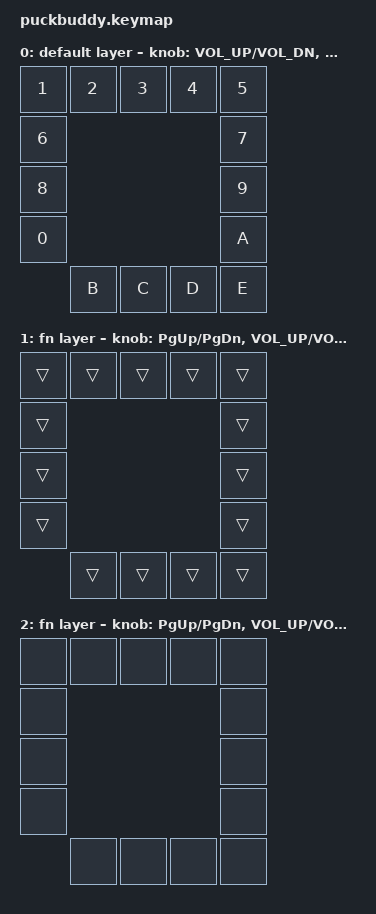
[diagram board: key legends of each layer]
/*
 * Copyright (c) 2022 The ZMK Contributors
 *
 * SPDX-License-Identifier: MIT
 */

#include <behaviors.dtsi>
#include <dt-bindings/zmk/keys.h>
#include <dt-bindings/zmk/bt.h>
#include <dt-bindings/zmk/rgb.h>
#include <dt-bindings/zmk/ext_power.h>


#define TIMEOUT 300

&encoder_1 {
    status = "okay";
};

&encoder_2 {
    status = "okay";
};

/ {
    combos {
        compatible = "zmk,combos";
        combo_btclr {
            timeout-ms = <TIMEOUT>;
            key-positions = <1 6>;
            bindings = <&bt BT_CLR>;
        };
        combo_lock {
            timeout-ms = <TIMEOUT>;
            key-positions = <1 7>;
            bindings = <&tog 2>;
        };
        combo_reset {
            timeout-ms = <TIMEOUT>;
            key-positions = <1 3>;
            bindings = <&reset>;
        };
        combo_bootloader {
            timeout-ms = <TIMEOUT>;
            key-positions = <1 2>;
            bindings = <&bootloader>;
        };
        combo_bt_nxt {
            timeout-ms = <TIMEOUT>;
            key-positions = <1 4>;
            bindings = <&bt BT_NXT>;
        };
    };
    
    sensors {
        compatible = "zmk,keymap-sensors";
        sensors = <&encoder_1 &encoder_2>;
    };


    keymap0: keymap {
        compatible = "zmk,keymap";

        default_layer {
            label = "default layer";
            bindings = <
                &kp N1    &kp N2    &kp N3    &kp N4            &kp N5    
                &kp N6                                          &kp N7    
                &kp N8                                          &kp N9    
                &kp N0                                          &kp A
                          &kp B     &kp C     &kp D    &kp E
            >;
            sensor-bindings = <&inc_dec_kp C_VOL_UP C_VOL_DN &inc_dec_kp PG_UP PG_DN>;

        }; 
        
        fn_layer {
            label = "fn layer";
            bindings = <
                &trans    &trans    &trans    &trans            &trans    
                &trans                                          &trans    
                &trans                                          &trans    
                &trans                                          &trans
                          &trans    &trans    &trans   &trans
            >;  
            sensor-bindings = <&inc_dec_kp PG_UP PG_DN &inc_dec_kp C_VOL_UP C_VOL_DN>;
                
        };
        
        lock_layer {
            label = "fn layer";
            bindings = <
                &none    &none    &none    &none            &none    
                &none                                          &none    
                &none                                          &none    
                &none                                          &none
                          &none    &none    &none   &none
            >;  
            sensor-bindings = <&inc_dec_kp PG_UP PG_DN &inc_dec_kp C_VOL_UP C_VOL_DN>;
                
        };
    };
};
